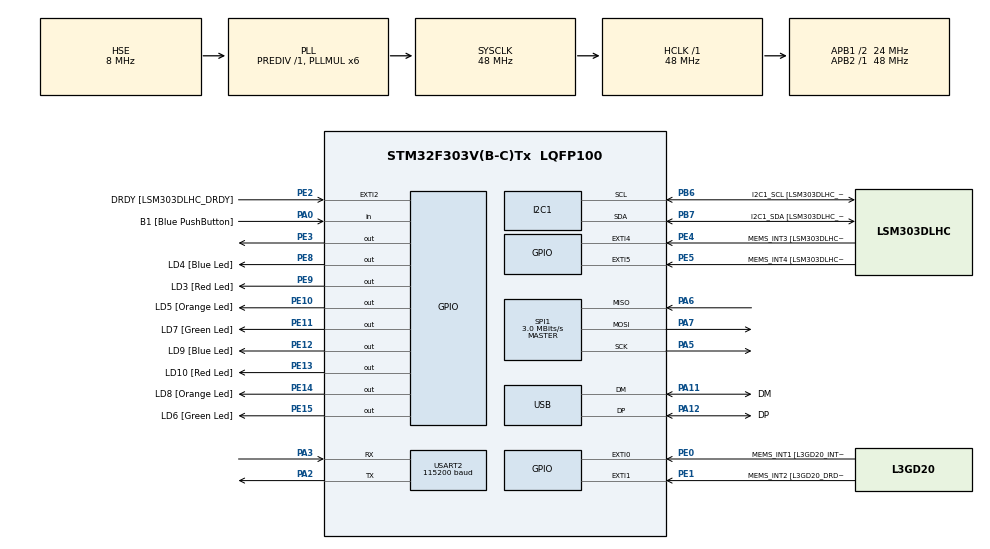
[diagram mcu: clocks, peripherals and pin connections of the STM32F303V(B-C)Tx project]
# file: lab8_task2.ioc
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I2C1.Timing=0x2000090E
I2C1.Timing-I2C=0x2000090E
Mcu.Family=STM32F3
Mcu.Name=STM32F303V(B-C)Tx
Mcu.Package=LQFP100
NVIC.PriorityGroup=NVIC_PRIORITYGROUP_0
NVIC.SPI1_IRQn=true\:0\:0\:false\:false\:true\:true\:true\:true
PA0.GPIO_Label=B1 [Blue PushButton]
PA0.Signal=GPIO_Input
PA11.GPIO_Label=DM
PA11.Mode=Device
PA11.Signal=USB_DM
PA12.GPIO_Label=DP
PA12.Mode=Device
PA12.Signal=USB_DP
PA13.GPIO_Label=SWDIO
PA13.Mode=Serial_Wire
PA13.Signal=SYS_JTMS-SWDIO
PA14.GPIO_Label=SWCLK
PA14.Mode=Serial_Wire
PA14.Signal=SYS_JTCK-SWCLK
PA2.Mode=Asynchronous
PA2.Signal=USART2_TX
PA3.Mode=Asynchronous
PA3.Signal=USART2_RX
PA5.Mode=Full_Duplex_Master
PA5.Signal=SPI1_SCK
PA6.Mode=Full_Duplex_Master
PA6.Signal=SPI1_MISO
PA7.Mode=Full_Duplex_Master
PA7.Signal=SPI1_MOSI
PB3.GPIO_Label=SWO
PB3.Signal=SYS_JTDO-TRACESWO
PB6.GPIO_Label=I2C1_SCL [LSM303DLHC_SCL]
PB6.GPIO_Pu=GPIO_PULLUP
PB6.Mode=I2C
PB6.Signal=I2C1_SCL
PB7.GPIO_Label=I2C1_SDA [LSM303DLHC_SDA]
PB7.GPIO_Pu=GPIO_PULLUP
PB7.Mode=I2C
PB7.Signal=I2C1_SDA
PC14-OSC32_IN.GPIO_Label=OSC32_IN
PC14-OSC32_IN.Signal=RCC_OSC32_IN
PC15-OSC32_OUT.GPIO_Label=OSC32_OUT
PC15-OSC32_OUT.Signal=RCC_OSC32_OUT
PE0.GPIO_Label=MEMS_INT1 [L3GD20_INT1]
PE0.GPIO_ModeDefaultEXTI=GPIO_MODE_EVT_RISING
PE0.Signal=GPXTI0
PE1.GPIO_Label=MEMS_INT2 [L3GD20_DRDY/INT2]
PE1.GPIO_ModeDefaultEXTI=GPIO_MODE_EVT_RISING
PE1.Signal=GPXTI1
PE10.GPIO_Label=LD5 [Orange Led]
PE10.Signal=GPIO_Output
PE11.GPIO_Label=LD7 [Green Led]
PE11.Signal=GPIO_Output
PE12.GPIO_Label=LD9 [Blue Led]
PE12.Signal=GPIO_Output
PE13.GPIO_Label=LD10 [Red Led]
PE13.Signal=GPIO_Output
PE14.GPIO_Label=LD8 [Orange Led]
PE14.Signal=GPIO_Output
PE15.GPIO_Label=LD6 [Green Led]
PE15.Signal=GPIO_Output
PE2.GPIO_Label=DRDY [LSM303DLHC_DRDY]
PE2.GPIO_ModeDefaultEXTI=GPIO_MODE_EVT_RISING
PE2.Signal=GPXTI2
PE3.Signal=GPIO_Output
PE4.GPIO_Label=MEMS_INT3 [LSM303DLHC_INT1]
PE4.GPIO_ModeDefaultEXTI=GPIO_MODE_EVT_RISING
PE4.Signal=GPXTI4
PE5.GPIO_Label=MEMS_INT4 [LSM303DLHC_INT2]
PE5.GPIO_ModeDefaultEXTI=GPIO_MODE_EVT_RISING
PE5.Signal=GPXTI5
PE8.GPIO_Label=LD4 [Blue Led]
PE8.Signal=GPIO_Output
PE9.GPIO_Label=LD3 [Red Led]
PE9.Signal=GPIO_Output
PF0-OSC_IN.GPIO_Label=OSC_IN
PF0-OSC_IN.Mode=HSE-External-Clock-Source
PF0-OSC_IN.Signal=RCC_OSC_IN
PF1-OSC_OUT.GPIO_Label=OSC_OUT
PF1-OSC_OUT.Signal=RCC_OSC_OUT
ProjectManager.HeapSize=0x200
ProjectManager.StackSize=0x400
ProjectManager.TargetToolchain=CMake
RCC.AHBFreq_Value=48000000
RCC.APB1CLKDivider=RCC_HCLK_DIV2
RCC.APB1Freq_Value=24000000
RCC.APB1TimFreq_Value=48000000
RCC.APB2Freq_Value=48000000
RCC.APB2TimFreq_Value=48000000
RCC.CortexFreq_Value=48000000
RCC.HCLKFreq_Value=48000000
RCC.HSE_VALUE=8000000
RCC.HSI_VALUE=8000000
RCC.LSE_VALUE=32768
RCC.PLLMUL=RCC_PLL_MUL6
RCC.SYSCLKFreq_VALUE=48000000
RCC.SYSCLKSourceVirtual=RCC_SYSCLKSOURCE_PLLCLK
RCC.USBFreq_Value=48000000
SPI1.BaudRatePrescaler=SPI_BAUDRATEPRESCALER_16
SPI1.CLKPhase=SPI_PHASE_2EDGE
SPI1.CLKPolarity=SPI_POLARITY_HIGH
SPI1.CalculateBaudRate=3.0 MBits/s
SPI1.DataSize=SPI_DATASIZE_8BIT
SPI1.Direction=SPI_DIRECTION_2LINES
SPI1.Mode=SPI_MODE_MASTER
SPI1.VirtualType=VM_MASTER
USART2.BaudRate=115200
USART2.VirtualMode-Asynchronous=VM_ASYNC
board=STM32F3DISCOVERY

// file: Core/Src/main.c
/* USER CODE BEGIN Header */
/**
  ******************************************************************************
  * @file           : main.c
  * @brief          : Main program body
  ******************************************************************************
  * @attention
  *
  * Copyright (c) 2025 STMicroelectronics.
  * All rights reserved.
  *
  * This software is licensed under terms that can be found in the LICENSE file
  * in the root directory of this software component.
  * If no LICENSE file comes with this software, it is provided AS-IS.
  *
  ******************************************************************************
  */
/* USER CODE END Header */
#include "main.h"

/* USER CODE BEGIN Includes */

#include <stdio.h>
#include <string.h>

/* USER CODE END Includes */

/* USER CODE BEGIN PD */
#define GYRO_CTRL_REG1     0x20U
#define GYRO_CTRL_REG4     0x23U
#define GYRO_OUT_TEMP      0x26U
#define GYRO_OUT_X_L       0x28U
#define GYRO_OUT_X_H       0x29U
#define GYRO_OUT_Y_L       0x2AU
#define GYRO_OUT_Y_H       0x2BU
#define GYRO_OUT_Z_L       0x2CU
#define GYRO_OUT_Z_H       0x2DU
#define GYRO_WHO_AM_I      0x0FU

#define GYRO_SPI_READ      0x80
#define GYRO_SPI_AUTOINC   0x40

// Full-scale = ±245 dps (default); LSB sensitivity:
#define GYRO_SENS_245DPS   0.00875f
/* USER CODE END PD */

/* USER CODE BEGIN PV */
// Chip select (keep your PE3)
#define GYRO_CS_PORT  GPIOE
#define GYRO_CS_PIN   GPIO_PIN_3

// Temperature calibration (set this to your actual room temp if you want)
#define CAL_ROOM_C    20

static int8_t  g_t0 = 0;         // baseline raw OUT_TEMP at startup
static int     g_temp_slope = -1; // LSB/°C; set from WHO (see calib)

// small tx/rx scratch
static uint8_t txb[8], rxb[8];
/* USER CODE END PV */

I2C_HandleTypeDef hi2c1;

SPI_HandleTypeDef hspi1;

UART_HandleTypeDef huart2;

PCD_HandleTypeDef hpcd_USB_FS;

/* USER CODE BEGIN PV */
static volatile uint8_t spi_busy = 0;
static uint8_t tx_cmd = (uint8_t)(0x80 | (GYRO_OUT_TEMP & 0x3F)); // READ single byte (no auto-inc)
static uint8_t rx_byte = 0;

static float T0_C = 20.0f;
static int8_t raw0 = 0;
/* USER CODE END PV */

void SystemClock_Config(void);
static void MX_GPIO_Init(void);
static void MX_I2C1_Init(void);
static void MX_SPI1_Init(void);
static void MX_USART2_UART_Init(void);
static void MX_USB_PCD_Init(void);

/* USER CODE BEGIN 0 */
/* USER CODE BEGIN 0 */
#include <stdio.h>
#include <string.h>

// CS control (active LOW)
static inline void GYRO_CS_LOW(void)  { HAL_GPIO_WritePin(GYRO_CS_PORT, GYRO_CS_PIN, GPIO_PIN_RESET); }
static inline void GYRO_CS_HIGH(void) { HAL_GPIO_WritePin(GYRO_CS_PORT, GYRO_CS_PIN, GPIO_PIN_SET);  }

static void uart_print(const char *s)
{
  HAL_UART_Transmit(&huart2, (uint8_t*)s, (uint16_t)strlen(s), HAL_MAX_DELAY);
}

// --- SPI register access (blocking, like your colleague) ---
static void gyro_write_reg(uint8_t reg, uint8_t val)
{
  GYRO_CS_LOW();
  txb[0] = (reg & 0x7F);     // write, no auto-inc
  txb[1] = val;
  HAL_SPI_Transmit(&hspi1, txb, 2, HAL_MAX_DELAY);
  GYRO_CS_HIGH();
  HAL_Delay(1);
}

static uint8_t gyro_read_u8(uint8_t reg)
{
  uint8_t cmd = (uint8_t)(reg | GYRO_SPI_READ);  // single byte read
  uint8_t val = 0;
  GYRO_CS_LOW();
  HAL_SPI_Transmit(&hspi1, &cmd, 1, HAL_MAX_DELAY);
  HAL_SPI_Receive(&hspi1, &val, 1, HAL_MAX_DELAY);
  GYRO_CS_HIGH();
  return val;
}

static void gyro_read_regs(uint8_t start_reg, uint8_t *dst, uint16_t len)
{
  uint8_t cmd = (uint8_t)(start_reg | GYRO_SPI_READ | (len > 1 ? GYRO_SPI_AUTOINC : 0));
  GYRO_CS_LOW();
  HAL_SPI_Transmit(&hspi1, &cmd, 1, HAL_MAX_DELAY);
  HAL_SPI_Receive(&hspi1, dst, len, HAL_MAX_DELAY);
  GYRO_CS_HIGH();
}

// --- Device init & temperature calibration ---
static void gyro_init(void)
{
  // CTRL_REG1: PD=1, X/Y/Z enable => 0x0F (default ODR)
  gyro_write_reg(GYRO_CTRL_REG1, 0x0F);

  // (Optional) CTRL_REG4 full-scale; default is ±245 dps, so leave it
  // gyro_write_reg(GYRO_CTRL_REG4, 0x00);

  HAL_Delay(10);
}

// Determine slope from WHO and capture baseline OUT_TEMP average
static void gyro_temp_calibrate(void)
{
  uint8_t who = gyro_read_u8(GYRO_WHO_AM_I);
  // L3GD20 / L3GD20H → WHO 0xD4/0xD7: +1 LSB/°C (datasheet nuance)
  // I3G4250D         → WHO 0xD3     : -1 LSB/°C
  if (who == 0xD4 || who == 0xD7) g_temp_slope = +1;
  else                             g_temp_slope = -1;

  int32_t acc = 0;
  for (int i = 0; i < 32; i++) {
    acc += (int8_t)gyro_read_u8(GYRO_OUT_TEMP);
    HAL_Delay(5);
  }
  g_t0 = (int8_t)(acc / 32);

  char msg[80];
  int n = snprintf(msg, sizeof(msg), "WHO=0x%02X, t0=%d, slope=%d\r\n", who, (int)g_t0, g_temp_slope);
  HAL_UART_Transmit(&huart2, (uint8_t*)msg, (uint16_t)n, HAL_MAX_DELAY);
}
/* USER CODE END 0 */

int main(void)
{

  /* MCU Configuration--------------------------------------------------------*/

  /* Reset of all peripherals, Initializes the Flash interface and the Systick. */
  HAL_Init();

  /* Configure the system clock */
  SystemClock_Config();

  /* Initialize all configured peripherals */
  MX_GPIO_Init();
  MX_I2C1_Init();
  MX_SPI1_Init();
  MX_USART2_UART_Init();
  MX_USB_PCD_Init();
  /* USER CODE BEGIN 2 */
// Ensure CS idles HIGH (CubeMX default drives PE3 low)
HAL_GPIO_WritePin(GYRO_CS_PORT, GYRO_CS_PIN, GPIO_PIN_SET); //We force PE3 HIGH after MX_GPIO_Init() so the gyro is deselected when idle
HAL_Delay(10);

/*
writes CTRL_REG1 (0x20) = 0x0F
Power on (PD=1) and enable X/Y/Z outputs.

This is the minimum to wake the part; we leave other defaults (ODR, bandwidth, scale).
*/
gyro_init();
/*
Reads WHO_AM_I (0x0F) once to infer the temperature slope sign:

0xD4 or 0xD7 (L3GD20/D20H) → slope = +1 LSB/°C

0xD3 (I3G4250D) → slope = -1 LSB/°C

Averages 32 samples of OUT_TEMP (0x26) to get a stable baseline g_t0.

Prints a short banner with WHO, baseline, slope for visibility.

This step lets us report approximate °C later by anchoring raw counts to a reference.
*/
gyro_temp_calibrate();

uart_print("tempC, x(dps*100), y(dps*100), z(dps*100)\r\n");
/* USER CODE END 2 */

/* USER CODE BEGIN WHILE */
while (1)
{
  // --- Temperature (approx. °C using 1-point calib) ---

  /*
  The new loop does blocking SPI reads for all axes and temperature — no interrupts, no callbacks.

  This mirrors your colleague’s working code and guarantees coherent readings (temp + X/Y/Z together).

  Interrupt mode was dropped because it complicates sequencing when multiple bytes (X/Y/Z) are needed.
  */
  int8_t t_raw = (int8_t)gyro_read_u8(GYRO_OUT_TEMP);
  int temp_c = CAL_ROOM_C + g_temp_slope * ((int)t_raw - (int)g_t0);

  // --- XYZ burst read with auto-increment ---
  uint8_t raw[6];
  gyro_read_regs(GYRO_OUT_X_L, raw, 6);
  int16_t x_raw = (int16_t)((((uint16_t)raw[1]) << 8) | raw[0]);
  int16_t y_raw = (int16_t)((((uint16_t)raw[3]) << 8) | raw[2]);
  int16_t z_raw = (int16_t)((((uint16_t)raw[5]) << 8) | raw[4]);

  // convert to dps (±245 dps) and scale ×100 for integer UART output
  float x_dps = x_raw * GYRO_SENS_245DPS;
  float y_dps = y_raw * GYRO_SENS_245DPS;
  float z_dps = z_raw * GYRO_SENS_245DPS;

  int xi = (int)(x_dps * 100.0f);
  int yi = (int)(y_dps * 100.0f);
  int zi = (int)(z_dps * 100.0f);

  char line[96];
  int n = snprintf(line, sizeof(line), "%d, %d, %d, %d\r\n", temp_c, xi, yi, zi);
  if (n > 0) HAL_UART_Transmit(&huart2, (uint8_t*)line, (uint16_t)n, HAL_MAX_DELAY);

  HAL_Delay(100); // ~10 Hz
}
/* USER CODE END WHILE */
  /* USER CODE END 3 */
}

void SystemClock_Config(void)
{
  RCC_OscInitTypeDef RCC_OscInitStruct = {0};
  RCC_ClkInitTypeDef RCC_ClkInitStruct = {0};
  RCC_PeriphCLKInitTypeDef PeriphClkInit = {0};

  /** Initializes the RCC Oscillators according to the specified parameters
  * in the RCC_OscInitTypeDef structure.
  */
  RCC_OscInitStruct.OscillatorType = RCC_OSCILLATORTYPE_HSI|RCC_OSCILLATORTYPE_HSE;
  RCC_OscInitStruct.HSEState = RCC_HSE_BYPASS;
  RCC_OscInitStruct.HSEPredivValue = RCC_HSE_PREDIV_DIV1;
  RCC_OscInitStruct.HSIState = RCC_HSI_ON;
  RCC_OscInitStruct.HSICalibrationValue = RCC_HSICALIBRATION_DEFAULT;
  RCC_OscInitStruct.PLL.PLLState = RCC_PLL_ON;
  RCC_OscInitStruct.PLL.PLLSource = RCC_PLLSOURCE_HSE;
  RCC_OscInitStruct.PLL.PLLMUL = RCC_PLL_MUL6;
  if (HAL_RCC_OscConfig(&RCC_OscInitStruct) != HAL_OK)
  {
    Error_Handler();
  }

  /** Initializes the CPU, AHB and APB buses clocks
  */
  RCC_ClkInitStruct.ClockType = RCC_CLOCKTYPE_HCLK|RCC_CLOCKTYPE_SYSCLK
                              |RCC_CLOCKTYPE_PCLK1|RCC_CLOCKTYPE_PCLK2;
  RCC_ClkInitStruct.SYSCLKSource = RCC_SYSCLKSOURCE_PLLCLK;
  RCC_ClkInitStruct.AHBCLKDivider = RCC_SYSCLK_DIV1;
  RCC_ClkInitStruct.APB1CLKDivider = RCC_HCLK_DIV2;
  RCC_ClkInitStruct.APB2CLKDivider = RCC_HCLK_DIV1;

  if (HAL_RCC_ClockConfig(&RCC_ClkInitStruct, FLASH_LATENCY_1) != HAL_OK)
  {
    Error_Handler();
  }
  PeriphClkInit.PeriphClockSelection = RCC_PERIPHCLK_USB|RCC_PERIPHCLK_USART2
                              |RCC_PERIPHCLK_I2C1;
  PeriphClkInit.Usart2ClockSelection = RCC_USART2CLKSOURCE_PCLK1;
  PeriphClkInit.I2c1ClockSelection = RCC_I2C1CLKSOURCE_HSI;
  PeriphClkInit.USBClockSelection = RCC_USBCLKSOURCE_PLL;
  if (HAL_RCCEx_PeriphCLKConfig(&PeriphClkInit) != HAL_OK)
  {
    Error_Handler();
  }
}

static void MX_I2C1_Init(void)
{

  hi2c1.Instance = I2C1;
  hi2c1.Init.Timing = 0x00201D2B;
  hi2c1.Init.OwnAddress1 = 0;
  hi2c1.Init.AddressingMode = I2C_ADDRESSINGMODE_7BIT;
  hi2c1.Init.DualAddressMode = I2C_DUALADDRESS_DISABLE;
  hi2c1.Init.OwnAddress2 = 0;
  hi2c1.Init.OwnAddress2Masks = I2C_OA2_NOMASK;
  hi2c1.Init.GeneralCallMode = I2C_GENERALCALL_DISABLE;
  hi2c1.Init.NoStretchMode = I2C_NOSTRETCH_DISABLE;
  if (HAL_I2C_Init(&hi2c1) != HAL_OK)
  {
    Error_Handler();
  }

  /** Configure Analogue filter
  */
  if (HAL_I2CEx_ConfigAnalogFilter(&hi2c1, I2C_ANALOGFILTER_ENABLE) != HAL_OK)
  {
    Error_Handler();
  }

  /** Configure Digital filter
  */
  if (HAL_I2CEx_ConfigDigitalFilter(&hi2c1, 0) != HAL_OK)
  {
    Error_Handler();
  }

}

static void MX_SPI1_Init(void)
{

  /* SPI1 parameter configuration*/
  hspi1.Instance = SPI1;
  hspi1.Init.Mode = SPI_MODE_MASTER;
  hspi1.Init.Direction = SPI_DIRECTION_2LINES;
  hspi1.Init.DataSize = SPI_DATASIZE_8BIT;
  hspi1.Init.CLKPolarity = SPI_POLARITY_HIGH;
  hspi1.Init.CLKPhase = SPI_PHASE_2EDGE;
  hspi1.Init.NSS = SPI_NSS_SOFT;
  hspi1.Init.BaudRatePrescaler = SPI_BAUDRATEPRESCALER_16;
  hspi1.Init.FirstBit = SPI_FIRSTBIT_MSB;
  hspi1.Init.TIMode = SPI_TIMODE_DISABLE;
  hspi1.Init.CRCCalculation = SPI_CRCCALCULATION_DISABLE;
  hspi1.Init.CRCPolynomial = 7;
  hspi1.Init.CRCLength = SPI_CRC_LENGTH_DATASIZE;
  hspi1.Init.NSSPMode = SPI_NSS_PULSE_DISABLE;
  if (HAL_SPI_Init(&hspi1) != HAL_OK)
  {
    Error_Handler();
  }

}

static void MX_USART2_UART_Init(void)
{

  huart2.Instance = USART2;
  huart2.Init.BaudRate = 115200;
  huart2.Init.WordLength = UART_WORDLENGTH_8B;
  huart2.Init.StopBits = UART_STOPBITS_1;
  huart2.Init.Parity = UART_PARITY_NONE;
  huart2.Init.Mode = UART_MODE_TX_RX;
  huart2.Init.HwFlowCtl = UART_HWCONTROL_NONE;
  huart2.Init.OverSampling = UART_OVERSAMPLING_16;
  huart2.Init.OneBitSampling = UART_ONE_BIT_SAMPLE_DISABLE;
  huart2.AdvancedInit.AdvFeatureInit = UART_ADVFEATURE_NO_INIT;
  if (HAL_UART_Init(&huart2) != HAL_OK)
  {
    Error_Handler();
  }

}

static void MX_USB_PCD_Init(void)
{

  hpcd_USB_FS.Instance = USB;
  hpcd_USB_FS.Init.dev_endpoints = 8;
  hpcd_USB_FS.Init.speed = PCD_SPEED_FULL;
  hpcd_USB_FS.Init.phy_itface = PCD_PHY_EMBEDDED;
  hpcd_USB_FS.Init.low_power_enable = DISABLE;
  hpcd_USB_FS.Init.battery_charging_enable = DISABLE;
  if (HAL_PCD_Init(&hpcd_USB_FS) != HAL_OK)
  {
    Error_Handler();
  }

}

static void MX_GPIO_Init(void)
{
  GPIO_InitTypeDef GPIO_InitStruct = {0};

  /* GPIO Ports Clock Enable */
  __HAL_RCC_GPIOE_CLK_ENABLE();
  __HAL_RCC_GPIOC_CLK_ENABLE();
  __HAL_RCC_GPIOF_CLK_ENABLE();
  __HAL_RCC_GPIOA_CLK_ENABLE();
  __HAL_RCC_GPIOB_CLK_ENABLE();

  /*Configure GPIO pin Output Level */
  HAL_GPIO_WritePin(GPIOE, GPIO_PIN_3|LD4_Pin|LD3_Pin|LD5_Pin
                          |LD7_Pin|LD9_Pin|LD10_Pin|LD8_Pin
                          |LD6_Pin, GPIO_PIN_RESET);

  /*Configure GPIO pins : DRDY_Pin MEMS_INT3_Pin MEMS_INT4_Pin MEMS_INT1_Pin
                           MEMS_INT2_Pin */
  GPIO_InitStruct.Pin = DRDY_Pin|MEMS_INT3_Pin|MEMS_INT4_Pin|MEMS_INT1_Pin
                          |MEMS_INT2_Pin;
  GPIO_InitStruct.Mode = GPIO_MODE_EVT_RISING;
  GPIO_InitStruct.Pull = GPIO_NOPULL;
  HAL_GPIO_Init(GPIOE, &GPIO_InitStruct);

  /*Configure GPIO pins : PE3 LD4_Pin LD3_Pin LD5_Pin
                           LD7_Pin LD9_Pin LD10_Pin LD8_Pin
                           LD6_Pin */
  GPIO_InitStruct.Pin = GPIO_PIN_3|LD4_Pin|LD3_Pin|LD5_Pin
                          |LD7_Pin|LD9_Pin|LD10_Pin|LD8_Pin
                          |LD6_Pin;
  GPIO_InitStruct.Mode = GPIO_MODE_OUTPUT_PP;
  GPIO_InitStruct.Pull = GPIO_NOPULL;
  GPIO_InitStruct.Speed = GPIO_SPEED_FREQ_LOW;
  HAL_GPIO_Init(GPIOE, &GPIO_InitStruct);

  /*Configure GPIO pin : B1_Pin */
  GPIO_InitStruct.Pin = B1_Pin;
  GPIO_InitStruct.Mode = GPIO_MODE_INPUT;
  GPIO_InitStruct.Pull = GPIO_NOPULL;
  HAL_GPIO_Init(B1_GPIO_Port, &GPIO_InitStruct);

}

/* USER CODE BEGIN 4 */

// SPI Tx complete: now receive 1 data byte
void HAL_SPI_TxCpltCallback(SPI_HandleTypeDef *hspi)
{
  if (hspi->Instance == SPI1)
  {
    HAL_SPI_Receive_IT(&hspi1, &rx_byte, 1);
  }
}

// SPI Rx complete: finish transaction, convert to degC, print ASCII
void HAL_SPI_RxCpltCallback(SPI_HandleTypeDef *hspi)
{
  if (hspi->Instance == SPI1)
  {
    GYRO_CS_HIGH();
    spi_busy = 0;

    int8_t raw = (int8_t)rx_byte;
    // L3GD20 temp sensitivity ≈ -1 LSB/°C; apply 1-point offset
    // T(°C) ≈ T0_C - (raw - raw0)
    float T_C = T0_C - ((float)raw - (float)raw0);

    char line[32];
    // Round to nearest int for clean output (prints like 18, 19, 20)
    snprintf(line, sizeof(line), "T=%d\r\n", (int)(T_C + (T_C >= 0 ? 0.5f : -0.5f)));
    uart_print(line);
  }
}

/* USER CODE END 4 */

void Error_Handler(void)
{
  __disable_irq();
  while (1)
  {
  }
}
